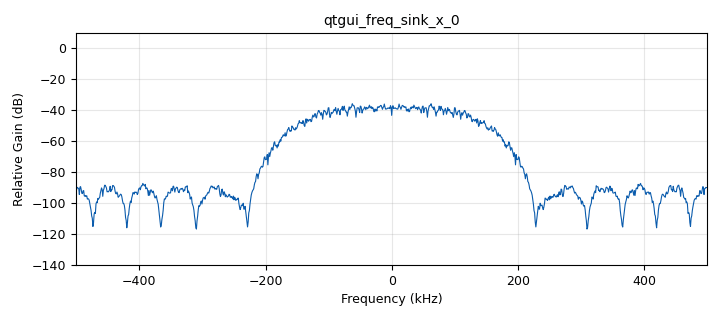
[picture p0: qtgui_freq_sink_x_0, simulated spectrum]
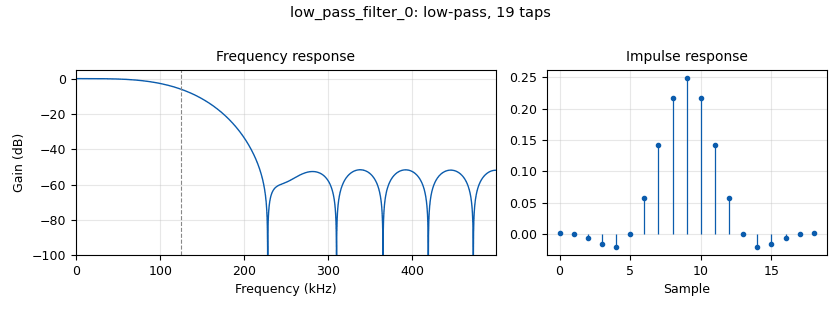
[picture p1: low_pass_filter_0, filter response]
options:
  parameters:
    generate_options: qt_gui
    id: top_block
    output_language: python
    title: Not titled yet
  states: {}

blocks:
- name: samp_rate
  id: variable
  parameters:
    value: 1e6
  states: {}
- name: tap0
  id: variable_qtgui_range
  parameters:
    orient: Qt.Horizontal
    start: '-1'
    step: '0.1'
    stop: '1'
    value: '1'
  states: {}
- name: tap1
  id: variable_qtgui_range
  parameters:
    orient: Qt.Horizontal
    start: '-1'
    step: '0.1'
    stop: '1'
    value: '1'
  states: {}
- name: tap2
  id: variable_qtgui_range
  parameters:
    orient: Qt.Horizontal
    start: '-1'
    step: '0.1'
    stop: '1'
    value: '1'
  states: {}
- name: tap3
  id: variable_qtgui_range
  parameters:
    orient: Qt.Horizontal
    start: '-1'
    step: '0.1'
    stop: '1'
    value: '1'
  states: {}
- name: tap4
  id: variable_qtgui_range
  parameters:
    orient: Qt.Horizontal
    start: '-1'
    step: '0.1'
    stop: '1'
    value: '1'
  states: {}
- name: analog_noise_source_x_0
  id: analog_noise_source_x
  parameters:
    amp: '1'
    noise_type: analog.GR_GAUSSIAN
    seed: '0'
    type: float
  states: {}
- name: blocks_add_xx_0
  id: blocks_add_xx
  parameters:
    num_inputs: '5'
    type: float
  states: {state: disabled}
- name: blocks_delay_0
  id: blocks_delay
  parameters:
    delay: '1'
    type: float
  states: {state: disabled}
- name: blocks_delay_1
  id: blocks_delay
  parameters:
    delay: '2'
    type: float
  states: {state: disabled}
- name: blocks_delay_1_0
  id: blocks_delay
  parameters:
    delay: '3'
    type: float
  states: {state: disabled}
- name: blocks_delay_1_0_0
  id: blocks_delay
  parameters:
    delay: '4'
    type: float
  states: {state: disabled}
- name: blocks_multiply_const_vxx_0
  id: blocks_multiply_const_vxx
  parameters:
    const: tap0
    type: float
  states: {state: disabled}
- name: blocks_multiply_const_vxx_1
  id: blocks_multiply_const_vxx
  parameters:
    const: tap1
    type: float
  states: {state: disabled}
- name: blocks_multiply_const_vxx_2
  id: blocks_multiply_const_vxx
  parameters:
    const: tap2
    type: float
  states: {state: disabled}
- name: blocks_multiply_const_vxx_2_0
  id: blocks_multiply_const_vxx
  parameters:
    const: tap3
    type: float
  states: {state: disabled}
- name: blocks_multiply_const_vxx_2_0_0
  id: blocks_multiply_const_vxx
  parameters:
    const: tap4
    type: float
  states: {state: disabled}
- name: blocks_throttle_0
  id: blocks_throttle
  parameters:
    samples_per_second: samp_rate
    type: float
  states: {}
- name: low_pass_filter_0
  id: low_pass_filter
  parameters:
    cutoff_freq: samp_rate/8
    decim: '1'
    gain: '1'
    samp_rate: samp_rate
    type: fir_filter_fff
    width: samp_rate/8
    win: firdes.WIN_HAMMING
  states: {}
- name: qtgui_freq_sink_x_0
  id: qtgui_freq_sink_x
  parameters:
    average: '0.1'
    bw: samp_rate
    fc: '0'
    fftsize: '1024'
    type: float
    wintype: firdes.WIN_BLACKMAN_hARRIS
  states: {}

connections:
- [analog_noise_source_x_0, '0', blocks_throttle_0, '0']
- [blocks_add_xx_0, '0', qtgui_freq_sink_x_0, '0']
- [blocks_delay_0, '0', blocks_multiply_const_vxx_1, '0']
- [blocks_delay_1, '0', blocks_multiply_const_vxx_2, '0']
- [blocks_delay_1_0, '0', blocks_multiply_const_vxx_2_0, '0']
- [blocks_delay_1_0_0, '0', blocks_multiply_const_vxx_2_0_0, '0']
- [blocks_multiply_const_vxx_0, '0', blocks_add_xx_0, '0']
- [blocks_multiply_const_vxx_1, '0', blocks_add_xx_0, '1']
- [blocks_multiply_const_vxx_2, '0', blocks_add_xx_0, '2']
- [blocks_multiply_const_vxx_2_0, '0', blocks_add_xx_0, '3']
- [blocks_multiply_const_vxx_2_0_0, '0', blocks_add_xx_0, '4']
- [blocks_throttle_0, '0', blocks_delay_0, '0']
- [blocks_throttle_0, '0', blocks_delay_1, '0']
- [blocks_throttle_0, '0', blocks_delay_1_0, '0']
- [blocks_throttle_0, '0', blocks_delay_1_0_0, '0']
- [blocks_throttle_0, '0', blocks_multiply_const_vxx_0, '0']
- [blocks_throttle_0, '0', low_pass_filter_0, '0']
- [low_pass_filter_0, '0', qtgui_freq_sink_x_0, '0']

metadata:
  file_format: 1
